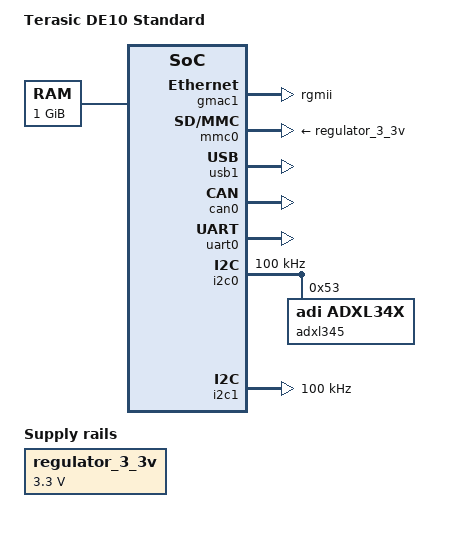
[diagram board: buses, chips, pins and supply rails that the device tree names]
/*
 *  Copyright (C) 2013 Steffen Trumtrar <s.trumtrar@pengutronix.de>
 *
 * This program is free software; you can redistribute it and/or modify
 * it under the terms of the GNU General Public License as published by
 * the Free Software Foundation; either version 2 of the License, or
 * (at your option) any later version.
 *
 * This program is distributed in the hope that it will be useful,
 * but WITHOUT ANY WARRANTY; without even the implied warranty of
 * MERCHANTABILITY or FITNESS FOR A PARTICULAR PURPOSE.  See the
 * GNU General Public License for more details.
 *
 * You should have received a copy of the GNU General Public License
 * along with this program.  If not, see <http://www.gnu.org/licenses/>.
 */

#include "socfpga_cyclone5.dtsi"

/ {
	model = "Terasic DE10 Standard";
	compatible = "altr,socfpga-cyclone5", "altr,socfpga";

	chosen {
		bootargs = "console=ttyS0,115200";
	};

	memory {
		name = "memory";
		device_type = "memory";
		reg = <0x0 0x40000000>; /* 1GB */
	};

	aliases {
		/* this allow the ethaddr uboot environmnet variable contents
		 * to be added to the gmac1 device tree blob.
		 */
		ethernet0 = &gmac1;
	};

	regulator_3_3v: vcc3p3-regulator {
		compatible = "regulator-fixed";
		regulator-name = "VCC3P3";
		regulator-min-microvolt = <3300000>;
		regulator-max-microvolt = <3300000>;
	};

	soc {
		hps_0_bridges: bridge@0xc0000000 {
			compatible = "altr,bridge-14.1", "simple-bus";
			reg = <0xc0000000 0x20000000>,
				<0xff200000 0x00200000>;
			reg-names = "axi_h2f", "axi_h2f_lw";
			#address-cells = <2>;
			#size-cells = <1>;
			ranges = <0x00000000 0x00000000 0xc0000000 0x00010000>,
				<0x00000001 0x00031000 0xFF231000 0x00000080>;

			alt_vip_vfr_1: vip2@0x100 {	
				compatible = "ALTR,vip-frame-reader-14.0", "ALTR,vip-frame-reader-9.1";
				reg = <0x00000001 0x00031000 0x00000080 >;
				max-width = < 1024 >;	
				max-height = < 768 >;	
				mem-word-width = < 128 >;
				bits-per-color = < 8 >;				
				}; //end vip@0x40100 (alt_vip_vfr_0)

		}; //end bridge@0xc0000000 (hps_0_bridges)
	};
};

&gmac1 {
	status = "okay";
	phy-mode = "rgmii";

	rxd0-skew-ps = <0>;
	rxd1-skew-ps = <0>;
	rxd2-skew-ps = <0>;
	rxd3-skew-ps = <0>;
	txen-skew-ps = <0>;
	txc-skew-ps = <2600>;
	rxdv-skew-ps = <0>;
	rxc-skew-ps = <2000>;
};

&mmc0 {
	vmmc-supply = <&regulator_3_3v>;
	vqmmc-supply = <&regulator_3_3v>;
};

&usb1 {
	status = "okay";
};

&can0 {
	status = "okay";
};

&uart0{
	status = "okay";
};

&i2c0 {
	status = "okay";
	clock-frequency = <100000>;
	speed-mode = <0>;

	adxl345@53 {
		compatible = "adi,adxl34x";
		reg = <0x53>;
	};
};
&i2c1 {
	status = "okay";
	clock-frequency = <100000>;
	speed-mode = <0>;
};

